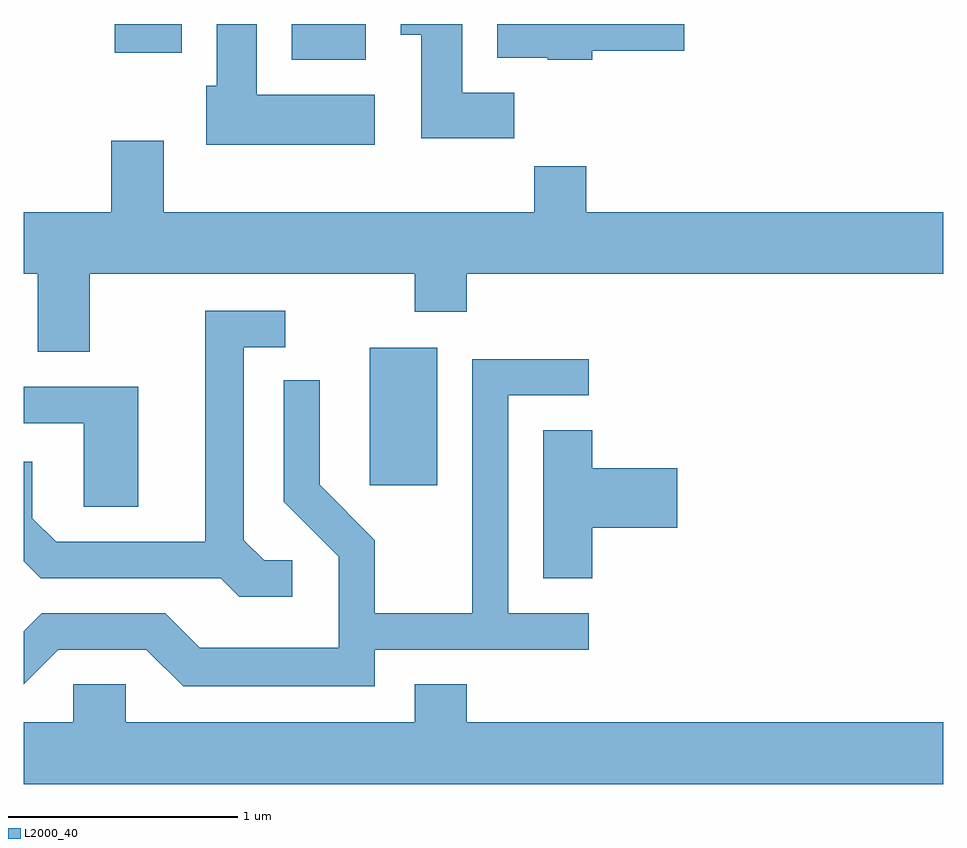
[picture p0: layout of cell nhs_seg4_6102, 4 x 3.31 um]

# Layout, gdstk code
import gdstk
lib = gdstk.Library(unit=1e-6, precision=1e-09)
def R(c, l, rs):  # rectangles x0, y0, x1, y1
    for r in rs: c.add(gdstk.rectangle(r[:2], r[2:], *l))
def P(c, l, *ps):  # polygons
    for p in ps: c.add(gdstk.Polygon(p, *l))
L2000_40 = (2000, 40)

nhs_seg4_6102 = lib.new_cell('nhs_seg4_6102')
R(nhs_seg4_6102, L2000_40, [(365.116,1355.976,365.409,1356.574), (364.776,1357.826,365.099,1357.982), (364.006,1357.856,364.299,1357.982)])
P(nhs_seg4_6102, L2000_40, [(365.139,1357.674),(364.624,1357.674),(364.624,1357.982),(364.451,1357.982),(364.451,1357.714),(364.406,1357.714),(364.406,1357.456),(365.139,1357.456)],
  [(365.744,1357.684),(365.519,1357.684),(365.519,1357.982),(365.251,1357.982),(365.251,1357.936),(365.341,1357.936),(365.341,1357.486),(365.744,1357.486)],
  [(366.084,1357.866),(366.484,1357.866),(366.484,1357.982),(365.671,1357.982),(365.671,1357.836),(365.89,1357.836),(365.89,1357.826),(366.084,1357.826)],
  [(363.899,1356.896),(365.311,1356.896),(365.311,1356.731),(365.539,1356.731),(365.539,1356.896),(367.611,1356.896),(367.611,1357.164),(366.059,1357.164),(366.059,1357.364),(365.831,1357.364),(365.831,1357.164),(364.219,1357.164),(364.219,1357.474),(363.991,1357.474),(363.991,1357.164),(363.611,1357.164),(363.611,1356.896),(363.671,1356.896),(363.671,1356.556),(363.899,1356.556)],
  [(364.778,1355.649),(364.657,1355.649),(364.569,1355.737),(364.569,1356.576),(364.748,1356.576),(364.748,1356.734),(364.401,1356.734),(364.401,1355.729),(363.752,1355.729),(363.649,1355.832),(363.649,1356.078),(363.611,1356.078),(363.611,1355.644),(363.684,1355.571),(364.469,1355.571),(364.549,1355.491),(364.778,1355.491)],
  [(365.139,1355.261),(366.068,1355.261),(366.068,1355.419),(365.719,1355.419),(365.719,1356.366),(366.068,1356.366),(366.068,1356.524),(365.561,1356.524),(365.561,1355.419),(365.139,1355.419),(365.139,1355.737),(364.899,1355.977),(364.899,1356.433),(364.741,1356.433),(364.741,1355.904),(364.981,1355.664),(364.981,1355.269),(364.377,1355.269),(364.227,1355.419),(363.689,1355.419),(363.611,1355.341),(363.611,1355.11),(363.762,1355.261),(364.144,1355.261),(364.304,1355.101),(365.139,1355.101)],
  [(364.109,1356.404),(363.611,1356.404),(363.611,1356.246),(363.871,1356.246),(363.871,1355.881),(364.109,1355.881)],
  [(366.084,1355.791),(366.454,1355.791),(366.454,1356.049),(366.084,1356.049),(366.084,1356.214),(365.871,1356.214),(365.871,1355.571),(366.084,1355.571)],
  [(367.611,1354.944),(365.539,1354.944),(365.539,1355.109),(365.311,1355.109),(365.311,1354.944),(364.054,1354.944),(364.054,1355.109),(363.826,1355.109),(363.826,1354.944),(363.611,1354.944),(363.611,1354.676),(367.611,1354.676)])

lib.write_gds('nhs_seg4_6102.gds')
